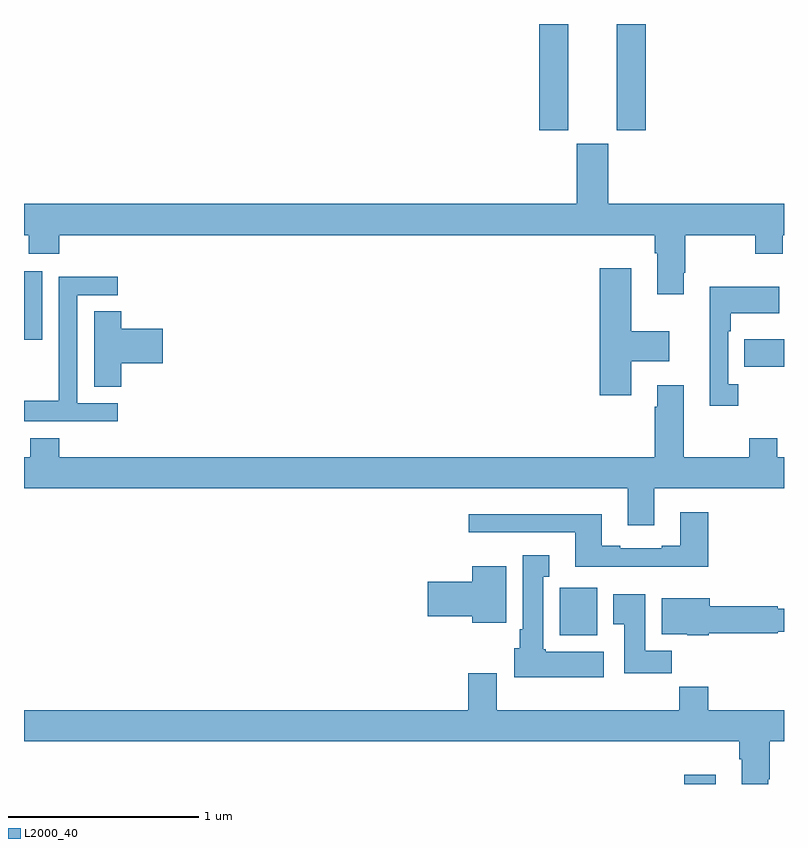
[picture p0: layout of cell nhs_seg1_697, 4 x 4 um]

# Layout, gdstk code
import gdstk
lib = gdstk.Library(unit=1e-6, precision=1e-09)
def R(c, l, rs):  # rectangles x0, y0, x1, y1
    for r in rs: c.add(gdstk.rectangle(r[:2], r[2:], *l))
def P(c, l, *ps):  # polygons
    for p in ps: c.add(gdstk.Polygon(p, *l))
L2000_40 = (2000, 40)

nhs_seg1_697 = lib.new_cell('nhs_seg1_697')
R(nhs_seg1_697, L2000_40, [(152.474,526.199,152.641,526.249), (151.821,526.982,152.017,527.232), (152.791,528.394,153,528.541), (149,528.537,149.095,528.898), (151.712,529.641,151.864,530.199), (152.12,529.641,152.273,530.199)])
P(nhs_seg1_697, L2000_40, [(152.473,528.889),(152.481,528.889),(152.481,529.088),(152.848,529.088),(152.848,528.989),(152.994,528.989),(152.994,529.088),(153,529.088),(153,529.252),(152.074,529.252),(152.074,529.569),(151.91,529.569),(151.91,529.252),(149,529.252),(149,529.088),(149.026,529.088),(149.026,528.989),(149.186,528.989),(149.186,529.088),(152.321,529.088),(152.321,528.992),(152.333,528.992),(152.333,528.777),(152.473,528.777)],
  [(152.197,528.425),(152.395,528.425),(152.395,528.583),(152.197,528.583),(152.197,528.913),(152.03,528.913),(152.03,528.246),(152.197,528.246)],
  [(149.494,528.204),(149.28,528.204),(149.28,528.771),(149.494,528.771),(149.494,528.87),(149.184,528.87),(149.184,528.44),(149.182,528.44),(149.182,528.217),(149,528.217),(149,528.108),(149.494,528.108)],
  [(152.758,528.302),(152.706,528.302),(152.706,528.581),(152.719,528.581),(152.719,528.677),(152.975,528.677),(152.975,528.817),(152.609,528.817),(152.609,528.189),(152.758,528.189)],
  [(149.513,528.413),(149.731,528.413),(149.731,528.596),(149.513,528.596),(149.513,528.686),(149.369,528.686),(149.369,528.289),(149.513,528.289)],
  [(152.317,527.756),(153,527.756),(153,527.92),(152.965,527.92),(152.965,528.019),(152.818,528.019),(152.818,527.92),(152.473,527.92),(152.473,528.298),(152.333,528.298),(152.333,528.185),(152.321,528.185),(152.321,527.92),(149.186,527.92),(149.186,528.019),(149.033,528.019),(149.033,527.92),(149,527.92),(149,527.756),(152.177,527.756),(152.177,527.562),(152.317,527.562)],
  [(152.601,527.629),(152.453,527.629),(152.453,527.452),(152.357,527.452),(152.357,527.439),(152.137,527.439),(152.137,527.452),(152.041,527.452),(152.041,527.62),(151.341,527.62),(151.341,527.523),(151.901,527.523),(151.901,527.342),(152.601,527.342)],
  [(152.05,526.894),(151.746,526.894),(151.746,526.908),(151.732,526.908),(151.732,527.291),(151.765,527.291),(151.765,527.404),(151.625,527.404),(151.625,527.014),(151.61,527.014),(151.61,526.914),(151.58,526.914),(151.58,526.76),(152.05,526.76)],
  [(151.537,527.344),(151.358,527.344),(151.358,527.264),(151.125,527.264),(151.125,527.081),(151.358,527.081),(151.358,527.048),(151.537,527.048)],
  [(152.408,526.9),(152.269,526.9),(152.269,527.197),(152.102,527.197),(152.102,527.041),(152.159,527.041),(152.159,526.782),(152.408,526.782)],
  [(152.604,526.993),(152.966,526.993),(152.966,527),(153,527),(153,527.122),(152.966,527.122),(152.966,527.135),(152.608,527.135),(152.608,527.176),(152.357,527.176),(152.357,526.988),(152.49,526.988),(152.49,526.982),(152.604,526.982)],
  [(152.917,526.225),(152.925,526.225),(152.925,526.424),(153,526.424),(153,526.588),(152.601,526.588),(152.601,526.712),(152.449,526.712),(152.449,526.588),(151.489,526.588),(151.489,526.783),(151.337,526.783),(151.337,526.588),(149,526.588),(149,526.424),(152.765,526.424),(152.765,526.328),(152.777,526.328),(152.777,526.199),(152.917,526.199)])

lib.write_gds('nhs_seg1_697.gds')
